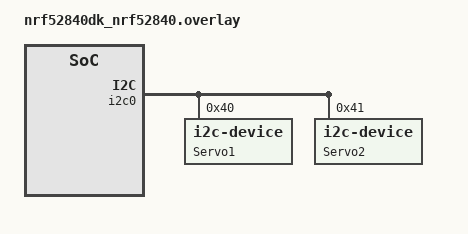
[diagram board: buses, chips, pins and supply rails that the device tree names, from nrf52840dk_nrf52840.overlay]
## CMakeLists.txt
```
# SPDX-License-Identifier: Apache-2.0

cmake_minimum_required(VERSION 3.20.0)
find_package(Zephyr REQUIRED HINTS $ENV{ZEPHYR_BASE})
project(blinky_pwm)

target_sources(app PRIVATE src/main.cpp src/nRF_I2CDevice.cpp)

#add_executable(app src/main.cpp)
#target_sources(app PRIVATE src/nRF_I2CDevice.cpp)
```

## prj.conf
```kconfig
CONFIG_STDOUT_CONSOLE=y
CONFIG_PRINTK=y
CONFIG_PWM=y
CONFIG_I2C=y
CONFIG_LOG=y
CONFIG_LOG_PRINTK=y
CONFIG_LOG_MODE_IMMEDIATE=y
CONFIG_PWM_LOG_LEVEL_DBG=y
CONFIG_CPLUSPLUS=y
CONFIG_NEWLIB_LIBC=y
```

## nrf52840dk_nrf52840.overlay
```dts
// To get started, press Ctrl+Space (or Option+Esc) to bring up the completion menu and view the available nodes.

// You can also use the buttons in the sidebar to perform actions on nodes.
// Actions currently available include:

// * Enabling / disabling the node
// * Adding the bus to a bus
// * Removing the node
// * Connecting ADC channels

// For more help, browse the DeviceTree documentation at https://docs.zephyrproject.org/latest/guides/dts/index.html
// You can also visit the nRF DeviceTree extension documentation at https://nrfconnect.github.io/vscode-nrf-connect/devicetree/nrfdevicetree.html
&i2c0 {
	
    motor_driver1: motor_driver1@40{
        compatible = "i2c-device";
        reg = <0x40>;
        label = "Servo1";
    };
    motor_driver2: motor_driver2@41{
        compatible = "i2c-device";
        reg = <0x41>;
        label = "Servo2";
    };

};
```

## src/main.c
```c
/*
 * Copyright (c) 2016 Intel Corporation
 * Copyright (c) 2020 Nordic Semiconductor ASA
 *
 * SPDX-License-Identifier: Apache-2.0
 */

/**
 * @file Sample app to demonstrate PWM.
 */

#include <zephyr/kernel.h>
#include <zephyr/sys/printk.h>
#include <zephyr/device.h>
#include <zephyr/drivers/pwm.h>
#include <zephyr/drivers/i2c.h>


#define I2C0_NODE DT_NODELABEL(motor_driver1)
#define I2C0_NODE2 DT_NODELABEL(motor_driver2)
static const struct i2c_dt_spec dev_i2c = I2C_DT_SPEC_GET(I2C0_NODE);

void main(void)
{

	if (!device_is_ready(dev_i2c.bus)) {
		printk("I2C bus %s is not ready!\n\r",dev_i2c.bus->name);
		return;
	}
	
	uint8_t config[2] = {0x03,0x8C};
	
	int ret = i2c_write_dt(&dev_i2c, config, sizeof(config));
	
	if(ret != 0){
		printk("Failed to write to I2C device address %x at reg. %x n", dev_i2c.addr,config[0]);
	}
	
	printk("Hello World! %s\n", CONFIG_BOARD);

}
```

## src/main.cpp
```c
/*
 * Copyright (c) 2016 Intel Corporation
 * Copyright (c) 2020 Nordic Semiconductor ASA
 *
 * SPDX-License-Identifier: Apache-2.0
 */

/**
 * @file Sample app to demonstrate PWM.
 */
#include <stdlib.h> 
#include <zephyr/kernel.h>
#include <zephyr/sys/printk.h>
#include "nRF_I2CDevice.h"
/*
#define I2C0_NODE DT_NODELABEL(motor_driver1)
#define I2C0_NODE2 DT_NODELABEL(motor_driver2)
static const struct i2c_dt_spec dev_i2c = I2C_DT_SPEC_GET(I2C0_NODE);
*/
nRF_I2CDevice *servo_driver1 = new nRF_I2CDevice();

int main(void)
{
	
	if (!device_is_ready(servo_driver1->servo_driver_i2c1.bus)) {
		printk("I2C bus %s is not ready!\n\r",servo_driver1->servo_driver_i2c1.bus->name);
		return 1;
	}	
	printk("Hello World! %s\n", CONFIG_BOARD);
	

	return 1;
}
```

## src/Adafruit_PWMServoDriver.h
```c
/*!
 *  @file Adafruit_PWMServoDriver.h
 *
 *  This is a library for our Adafruit 16-channel PWM & Servo driver.
 *
 *  Designed specifically to work with the Adafruit 16-channel PWM & Servo
 * driver.
 *
 *  Pick one up today in the adafruit shop!
 *  ------> https://www.adafruit.com/product/815
 *
 *  These driver use I2C to communicate, 2 pins are required to interface.
 *  For Arduino UNOs, thats SCL -> Analog 5, SDA -> Analog 4.
 *
 *  Adafruit invests time and resources providing this open source code,
 *  please support Adafruit andopen-source hardware by purchasing products
 *  from Adafruit!
 *
 *  Limor Fried/Ladyada (Adafruit Industries).
 *
 *  BSD license, all text above must be included in any redistribution
 */
#ifndef _ADAFRUIT_PWMServoDriver_H
#define _ADAFRUIT_PWMServoDriver_H

#include <Adafruit_I2CDevice.h>
#include <nRF_I2CDevice.h>

// REGISTER ADDRESSES
#define PCA9685_MODE1 0x00      /**< Mode Register 1 */
#define PCA9685_MODE2 0x01      /**< Mode Register 2 */
#define PCA9685_SUBADR1 0x02    /**< I2C-bus subaddress 1 */
#define PCA9685_SUBADR2 0x03    /**< I2C-bus subaddress 2 */
#define PCA9685_SUBADR3 0x04    /**< I2C-bus subaddress 3 */
#define PCA9685_ALLCALLADR 0x05 /**< LED All Call I2C-bus address */
#define PCA9685_LED0_ON_L 0x06  /**< LED0 on tick, low byte*/
#define PCA9685_LED0_ON_H 0x07  /**< LED0 on tick, high byte*/
#define PCA9685_LED0_OFF_L 0x08 /**< LED0 off tick, low byte */
#define PCA9685_LED0_OFF_H 0x09 /**< LED0 off tick, high byte */
// etc all 16:  LED15_OFF_H 0x45
#define PCA9685_ALLLED_ON_L 0xFA  /**< load all the LEDn_ON registers, low */
#define PCA9685_ALLLED_ON_H 0xFB  /**< load all the LEDn_ON registers, high */
#define PCA9685_ALLLED_OFF_L 0xFC /**< load all the LEDn_OFF registers, low */
#define PCA9685_ALLLED_OFF_H 0xFD /**< load all the LEDn_OFF registers,high */
#define PCA9685_PRESCALE 0xFE     /**< Prescaler for PWM output frequency */
#define PCA9685_TESTMODE 0xFF     /**< defines the test mode to be entered */

// MODE1 bits
#define MODE1_ALLCAL 0x01  /**< respond to LED All Call I2C-bus address */
#define MODE1_SUB3 0x02    /**< respond to I2C-bus subaddress 3 */
#define MODE1_SUB2 0x04    /**< respond to I2C-bus subaddress 2 */
#define MODE1_SUB1 0x08    /**< respond to I2C-bus subaddress 1 */
#define MODE1_SLEEP 0x10   /**< Low power mode. Oscillator off */
#define MODE1_AI 0x20      /**< Auto-Increment enabled */
#define MODE1_EXTCLK 0x40  /**< Use EXTCLK pin clock */
#define MODE1_RESTART 0x80 /**< Restart enabled */
// MODE2 bits
#define MODE2_OUTNE_0 0x01 /**< Active LOW output enable input */
#define MODE2_OUTNE_1                                                          \
  0x02 /**< Active LOW output enable input - high impedience */
#define MODE2_OUTDRV 0x04 /**< totem pole structure vs open-drain */
#define MODE2_OCH 0x08    /**< Outputs change on ACK vs STOP */
#define MODE2_INVRT 0x10  /**< Output logic state inverted */

#define PCA9685_I2C_ADDRESS 0x40      /**< Default PCA9685 I2C Slave Address */
#define FREQUENCY_OSCILLATOR 25000000 /**< Int. osc. frequency in datasheet */

#define PCA9685_PRESCALE_MIN 3   /**< minimum prescale value */
#define PCA9685_PRESCALE_MAX 255 /**< maximum prescale value */

/*!
 *  @brief  Class that stores state and functions for interacting with PCA9685
 * PWM chip
 */
class Adafruit_PWMServoDriver {
public:
  Adafruit_PWMServoDriver();
  Adafruit_PWMServoDriver(const uint8_t addr);
  Adafruit_PWMServoDriver(const uint8_t addr, TwoWire &i2c);
  bool begin(uint8_t prescale = 0);
  void reset();
  void sleep();
  void wakeup();
  void setExtClk(uint8_t prescale);
  void setPWMFreq(float freq);
  void setOutputMode(bool totempole);
  uint16_t getPWM(uint8_t num, bool off = false);
  uint8_t setPWM(uint8_t num, uint16_t on, uint16_t off);
  void setPin(uint8_t num, uint16_t val, bool invert = false);
  uint8_t readPrescale(void);
  void writeMicroseconds(uint8_t num, uint16_t Microseconds);

  void setOscillatorFrequency(uint32_t freq);
  uint32_t getOscillatorFrequency(void);

private:
  uint8_t _i2caddr;
  TwoWire *_i2c;
  Adafruit_I2CDevice *i2c_dev = NULL; ///< Pointer to I2C bus interface

  uint32_t _oscillator_freq;
  uint8_t read8(uint8_t addr);
  void write8(uint8_t addr, uint8_t d);
};

#endif
```

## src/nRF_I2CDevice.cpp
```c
#include "nRF_I2CDevice.h"



#define I2C0_NODE DT_NODELABEL(motor_driver1)
#define I2C1_NODE DT_NODELABEL(motor_driver2)

nRF_I2CDevice::nRF_I2CDevice()
{
    servo_driver_i2c1 = I2C_DT_SPEC_GET(I2C0_NODE);
    servo_driver_i2c2 = I2C_DT_SPEC_GET(I2C1_NODE);
}


int nRF_I2CDevice::write_read_i2c(const void *write_buf, size_t num_write, void *read_buf, size_t num_read)
{

    int ret = i2c_write_read_dt(&servo_driver_i2c1, write_buf, num_write,read_buf,num_read);
    if(ret != 0){
	    printk("Failed to write/read I2C device address %x ", servo_driver_i2c1.addr);
    }
    return ret;

}

int nRF_I2CDevice::write_i2c(const uint8_t *buf, uint32_t num_bytes)
{
    int ret = i2c_write_dt(&servo_driver_i2c1, buf, num_bytes);
    if(ret != 0){
        printk("Failed to write to I2C device address %x", servo_driver_i2c1.addr);
    }
    return ret;

}

int nRF_I2CDevice::read_i2c(uint8_t *buf, uint32_t num_bytes)
{
    int ret = i2c_read_dt(&servo_driver_i2c1, buf, num_bytes);
    if(ret != 0){
        printk("Failed to read from I2C device address %x", servo_driver_i2c1.addr);
    }
    return ret;
}
```

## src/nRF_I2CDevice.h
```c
#include <zephyr/device.h>
#include <zephyr/drivers/pwm.h>
#include <zephyr/drivers/i2c.h>

class nRF_I2CDevice {

public:

nRF_I2CDevice();

struct i2c_dt_spec servo_driver_i2c1;
struct i2c_dt_spec servo_driver_i2c2;


int write_read_i2c(const void *write_buf, size_t num_write, void *read_buf, size_t num_read);
int write_i2c(const uint8_t *buf, uint32_t num_bytes);
int read_i2c(uint8_t *buf, uint32_t num_bytes);


};
```
